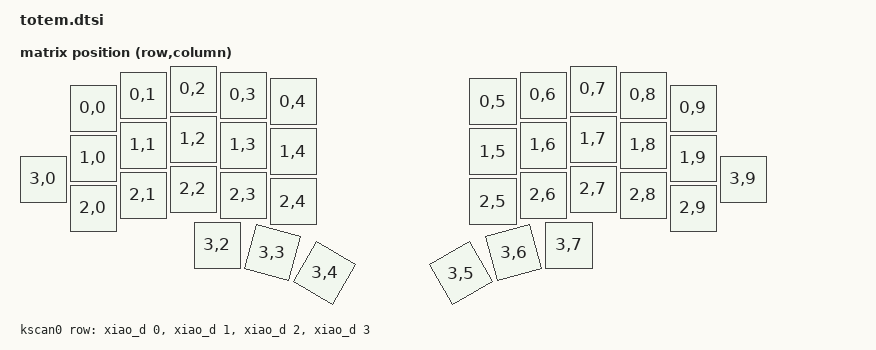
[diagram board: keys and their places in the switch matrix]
/*
 * Copyright (c) 2022 The ZMK Contributors
 *
 * SPDX-License-Identifier: MIT
 */

#include <dt-bindings/zmk/matrix_transform.h>
#include <physical_layouts.dtsi>

/ {
    chosen {
        zmk,physical-layout = &totem_layout;
    };

    totem_layout: totem_layout {
        compatible = "zmk,physical-layout";
        display-name = "TOTEM";

        transform = <&default_transform>;
        kscan = <&kscan0>;

        keys  //                     w   h    x    y     rot    rx    ry
            = <&key_physical_attrs 100 100  100   38       0     0     0>
            , <&key_physical_attrs 100 100  200   12       0     0     0>
            , <&key_physical_attrs 100 100  300    0       0     0     0>
            , <&key_physical_attrs 100 100  400   12       0     0     0>
            , <&key_physical_attrs 100 100  500   25       0     0     0>
            , <&key_physical_attrs 100 100  900   25       0     0     0>
            , <&key_physical_attrs 100 100 1000   12       0     0     0>
            , <&key_physical_attrs 100 100 1100    0       0     0     0>
            , <&key_physical_attrs 100 100 1200   12       0     0     0>
            , <&key_physical_attrs 100 100 1300   38       0     0     0>
            , <&key_physical_attrs 100 100  100  138       0     0     0>
            , <&key_physical_attrs 100 100  200  112       0     0     0>
            , <&key_physical_attrs 100 100  300  100       0     0     0>
            , <&key_physical_attrs 100 100  400  112       0     0     0>
            , <&key_physical_attrs 100 100  500  125       0     0     0>
            , <&key_physical_attrs 100 100  900  125       0     0     0>
            , <&key_physical_attrs 100 100 1000  112       0     0     0>
            , <&key_physical_attrs 100 100 1100  100       0     0     0>
            , <&key_physical_attrs 100 100 1200  112       0     0     0>
            , <&key_physical_attrs 100 100 1300  138       0     0     0>
            , <&key_physical_attrs 100 100    0  180       0     0     0>
            , <&key_physical_attrs 100 100  100  238       0     0     0>
            , <&key_physical_attrs 100 100  200  212       0     0     0>
            , <&key_physical_attrs 100 100  300  200       0     0     0>
            , <&key_physical_attrs 100 100  400  212       0     0     0>
            , <&key_physical_attrs 100 100  500  225       0     0     0>
            , <&key_physical_attrs 100 100  900  225       0     0     0>
            , <&key_physical_attrs 100 100 1000  212       0     0     0>
            , <&key_physical_attrs 100 100 1100  200       0     0     0>
            , <&key_physical_attrs 100 100 1200  212       0     0     0>
            , <&key_physical_attrs 100 100 1300  238       0     0     0>
            , <&key_physical_attrs 100 100 1400  180       0     0     0>
            , <&key_physical_attrs 100 100  348  312       0     0     0>
            , <&key_physical_attrs 100 100  348  312    1500   398   790>
            , <&key_physical_attrs 100 100  348  310    3000   398   790>
            , <&key_physical_attrs 100 100 1050  310 (-3000)  1102   790>
            , <&key_physical_attrs 100 100 1052  312 (-1500)  1102   790>
            , <&key_physical_attrs 100 100 1052  312       0     0     0>
            ;
    };

    default_transform: keymap_transform_0 {
        compatible = "zmk,matrix-transform";
        columns = <10>;
        rows = <4>;
//             | SW01  | SW02  | SW03  | SW04  | SW05  |  | SW05  | SW04  | SW03  | SW02  | SW01  |
//             | SW06  | SW07  | SW08  | SW09  | SW10  |  | SW10  | SW09  | SW08  | SW07  | SW06  | 
//      | SW16 | SW11  | SW12  | SW13  | SW14  | SW15  |  | SW15  | SW14  | SW13  | SW12  | SW11  | SW16  |
//                             | SW17  | SW18  | SW19  |  | SW19  | SW18  | SW17  | 
        map = <
                RC(0,0) RC(0,1) RC(0,2) RC(0,3) RC(0,4)    RC(0,5) RC(0,6) RC(0,7) RC(0,8) RC(0,9)
                RC(1,0) RC(1,1) RC(1,2) RC(1,3) RC(1,4)    RC(1,5) RC(1,6) RC(1,7) RC(1,8) RC(1,9)
        RC(3,0) RC(2,0) RC(2,1) RC(2,2) RC(2,3) RC(2,4)    RC(2,5) RC(2,6) RC(2,7) RC(2,8) RC(2,9) RC(3,9)
                                RC(3,2) RC(3,3) RC(3,4)    RC(3,5) RC(3,6) RC(3,7)         
        >;
    };

    kscan0: kscan_0 {
        compatible = "zmk,kscan-gpio-matrix";
        label = "KSCAN";
        
        diode-direction = "col2row"; 
        row-gpios
            = <&xiao_d 0 (GPIO_ACTIVE_HIGH | GPIO_PULL_DOWN)>
            , <&xiao_d 1 (GPIO_ACTIVE_HIGH | GPIO_PULL_DOWN)>
            , <&xiao_d 2 (GPIO_ACTIVE_HIGH | GPIO_PULL_DOWN)>
            , <&xiao_d 3 (GPIO_ACTIVE_HIGH | GPIO_PULL_DOWN)>
            ;
    };
};
